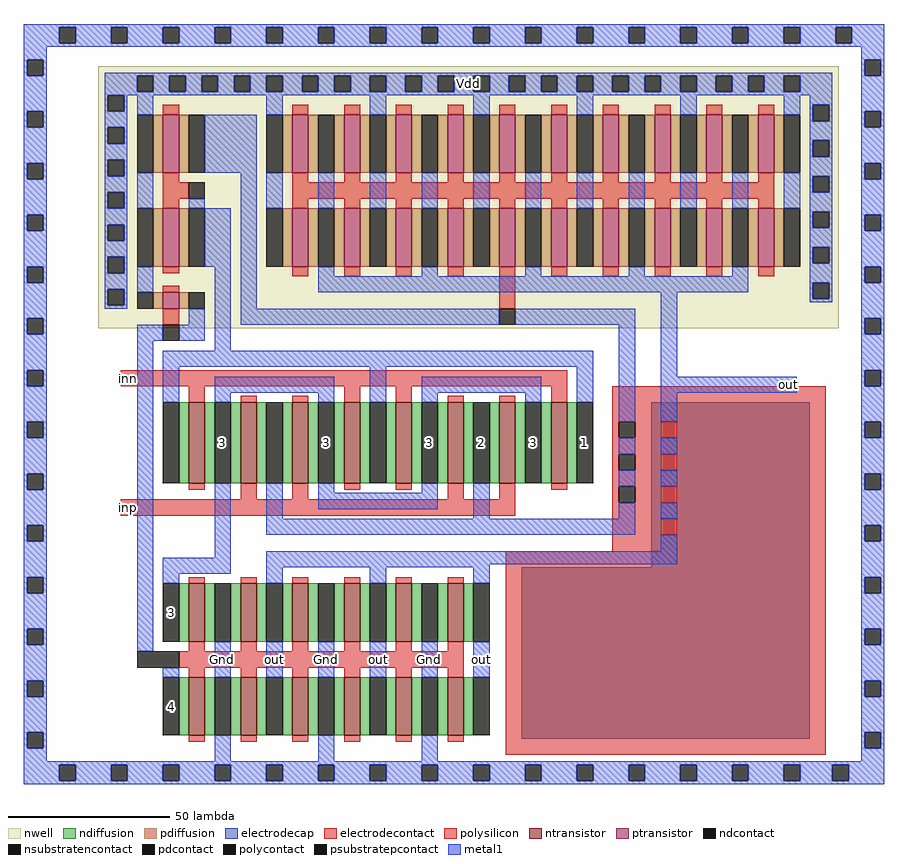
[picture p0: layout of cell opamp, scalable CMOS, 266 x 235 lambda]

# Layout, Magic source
magic
tech scmos
<< nwell >>
rect 23 141 252 222
<< electrodecontact >>
rect 197 107 202 112
rect 197 97 202 102
rect 197 87 202 92
rect 197 77 202 82
<< electrodecap >>
rect 194 67 243 118
rect 154 14 243 67
<< ntransistor >>
rect 51 93 56 118
rect 67 93 72 118
rect 83 93 88 118
rect 99 93 104 118
rect 115 93 120 118
rect 131 93 136 118
rect 147 93 152 118
rect 163 93 168 118
rect 51 44 56 62
rect 67 44 72 62
rect 83 44 88 62
rect 99 44 104 62
rect 115 44 120 62
rect 131 44 136 62
rect 51 15 56 33
rect 67 15 72 33
rect 83 15 88 33
rect 99 15 104 33
rect 115 15 120 33
rect 131 15 136 33
<< ptransistor >>
rect 43 189 48 207
rect 83 189 88 207
rect 99 189 104 207
rect 115 189 120 207
rect 131 189 136 207
rect 147 189 152 207
rect 163 189 168 207
rect 179 189 184 207
rect 195 189 200 207
rect 211 189 216 207
rect 227 189 232 207
rect 43 160 48 178
rect 83 160 88 178
rect 99 160 104 178
rect 115 160 120 178
rect 131 160 136 178
rect 147 160 152 178
rect 163 160 168 178
rect 179 160 184 178
rect 195 160 200 178
rect 211 160 216 178
rect 227 160 232 178
rect 43 147 48 152
<< ndiffusion >>
rect 48 93 51 118
rect 56 93 59 118
rect 64 93 67 118
rect 72 93 75 118
rect 80 93 83 118
rect 88 93 91 118
rect 96 93 99 118
rect 104 93 107 118
rect 112 93 115 118
rect 120 93 123 118
rect 128 93 131 118
rect 136 93 139 118
rect 144 93 147 118
rect 152 93 155 118
rect 160 93 163 118
rect 168 93 171 118
rect 48 44 51 62
rect 56 44 59 62
rect 64 44 67 62
rect 72 44 75 62
rect 80 44 83 62
rect 88 44 91 62
rect 96 44 99 62
rect 104 44 107 62
rect 112 44 115 62
rect 120 44 123 62
rect 128 44 131 62
rect 136 44 139 62
rect 48 15 51 33
rect 56 15 59 33
rect 64 15 67 33
rect 72 15 75 33
rect 80 15 83 33
rect 88 15 91 33
rect 96 15 99 33
rect 104 15 107 33
rect 112 15 115 33
rect 120 15 123 33
rect 128 15 131 33
rect 136 15 139 33
<< pdiffusion >>
rect 40 189 43 207
rect 48 189 51 207
rect 80 189 83 207
rect 88 189 91 207
rect 96 189 99 207
rect 104 189 107 207
rect 112 189 115 207
rect 120 189 123 207
rect 128 189 131 207
rect 136 189 139 207
rect 144 189 147 207
rect 152 189 155 207
rect 160 189 163 207
rect 168 189 171 207
rect 176 189 179 207
rect 184 189 187 207
rect 192 189 195 207
rect 200 189 203 207
rect 208 189 211 207
rect 216 189 219 207
rect 224 189 227 207
rect 232 189 235 207
rect 40 160 43 178
rect 48 160 51 178
rect 80 160 83 178
rect 88 160 91 178
rect 96 160 99 178
rect 104 160 107 178
rect 112 160 115 178
rect 120 160 123 178
rect 128 160 131 178
rect 136 160 139 178
rect 144 160 147 178
rect 152 160 155 178
rect 160 160 163 178
rect 168 160 171 178
rect 176 160 179 178
rect 184 160 187 178
rect 192 160 195 178
rect 200 160 203 178
rect 208 160 211 178
rect 216 160 219 178
rect 224 160 227 178
rect 232 160 235 178
rect 40 147 43 152
rect 48 147 51 152
<< ndcontact >>
rect 43 93 48 118
rect 59 93 64 118
rect 75 93 80 118
rect 91 93 96 118
rect 107 93 112 118
rect 123 93 128 118
rect 139 93 144 118
rect 155 93 160 118
rect 171 93 176 118
rect 43 44 48 62
rect 59 44 64 62
rect 75 44 80 62
rect 91 44 96 62
rect 107 44 112 62
rect 123 44 128 62
rect 139 44 144 62
rect 43 15 48 33
rect 59 15 64 33
rect 75 15 80 33
rect 91 15 96 33
rect 107 15 112 33
rect 123 15 128 33
rect 139 15 144 33
<< pdcontact >>
rect 35 189 40 207
rect 51 189 56 207
rect 75 189 80 207
rect 91 189 96 207
rect 107 189 112 207
rect 123 189 128 207
rect 139 189 144 207
rect 155 189 160 207
rect 171 189 176 207
rect 187 189 192 207
rect 203 189 208 207
rect 219 189 224 207
rect 235 189 240 207
rect 35 160 40 178
rect 51 160 56 178
rect 75 160 80 178
rect 91 160 96 178
rect 107 160 112 178
rect 123 160 128 178
rect 139 160 144 178
rect 155 160 160 178
rect 171 160 176 178
rect 187 160 192 178
rect 203 160 208 178
rect 219 160 224 178
rect 235 160 240 178
rect 35 147 40 152
rect 51 147 56 152
<< psubstratepcontact >>
rect 11 229 16 234
rect 27 229 32 234
rect 43 229 48 234
rect 59 229 64 234
rect 75 229 80 234
rect 91 229 96 234
rect 107 229 112 234
rect 123 229 128 234
rect 139 229 144 234
rect 155 229 160 234
rect 171 229 176 234
rect 187 229 192 234
rect 203 229 208 234
rect 219 229 224 234
rect 235 229 240 234
rect 251 229 256 234
rect 1 219 6 224
rect 260 219 265 224
rect 1 203 6 208
rect 1 187 6 192
rect 260 203 265 208
rect 260 187 265 192
rect 1 171 6 176
rect 1 155 6 160
rect 260 171 265 176
rect 260 155 265 160
rect 1 139 6 144
rect 260 139 265 144
rect 1 123 6 128
rect 260 123 265 128
rect 1 107 6 112
rect 1 91 6 96
rect 260 107 265 112
rect 260 91 265 96
rect 1 75 6 80
rect 260 75 265 80
rect 1 59 6 64
rect 1 43 6 48
rect 1 27 6 32
rect 1 11 6 16
rect 260 59 265 64
rect 260 43 265 48
rect 260 27 265 32
rect 260 11 265 16
rect 11 1 16 6
rect 27 1 32 6
rect 43 1 48 6
rect 59 1 64 6
rect 75 1 80 6
rect 91 1 96 6
rect 107 1 112 6
rect 123 1 128 6
rect 139 1 144 6
rect 155 1 160 6
rect 171 1 176 6
rect 187 1 192 6
rect 203 1 208 6
rect 219 1 224 6
rect 235 1 240 6
rect 250 1 255 6
<< nsubstratencontact >>
rect 35 214 40 219
rect 45 214 50 219
rect 55 214 60 219
rect 65 214 70 219
rect 75 214 80 219
rect 86 214 91 219
rect 96 214 101 219
rect 107 214 112 219
rect 118 214 123 219
rect 128 214 133 219
rect 139 214 144 219
rect 150 214 155 219
rect 160 214 165 219
rect 171 214 176 219
rect 182 214 187 219
rect 192 214 197 219
rect 203 214 208 219
rect 214 214 219 219
rect 224 214 229 219
rect 235 214 240 219
rect 26 208 31 213
rect 26 198 31 203
rect 26 188 31 193
rect 244 205 249 210
rect 244 194 249 199
rect 26 178 31 183
rect 244 183 249 188
rect 26 168 31 173
rect 26 158 31 163
rect 244 172 249 177
rect 244 161 249 166
rect 26 148 31 153
rect 244 150 249 155
<< polysilicon >>
rect 43 207 48 210
rect 83 207 88 210
rect 99 207 104 210
rect 115 207 120 210
rect 131 207 136 210
rect 147 207 152 210
rect 163 207 168 210
rect 179 207 184 210
rect 195 207 200 210
rect 211 207 216 210
rect 227 207 232 210
rect 43 186 48 189
rect 83 186 88 189
rect 99 186 104 189
rect 115 186 120 189
rect 131 186 136 189
rect 147 186 152 189
rect 163 186 168 189
rect 179 186 184 189
rect 195 186 200 189
rect 211 186 216 189
rect 227 186 232 189
rect 43 181 51 186
rect 83 181 232 186
rect 43 178 48 181
rect 83 178 88 181
rect 99 178 104 181
rect 115 178 120 181
rect 131 178 136 181
rect 147 178 152 181
rect 163 178 168 181
rect 179 178 184 181
rect 195 178 200 181
rect 211 178 216 181
rect 227 178 232 181
rect 43 158 48 160
rect 83 157 88 160
rect 99 157 104 160
rect 115 157 120 160
rect 131 157 136 160
rect 43 152 48 154
rect 147 147 152 160
rect 163 157 168 160
rect 179 157 184 160
rect 195 157 200 160
rect 211 157 216 160
rect 227 157 232 160
rect 43 142 48 147
rect 30 123 168 128
rect 51 118 56 123
rect 67 118 72 120
rect 83 118 88 120
rect 99 118 104 123
rect 115 118 120 123
rect 131 118 136 120
rect 147 118 152 120
rect 163 118 168 123
rect 182 112 248 123
rect 182 107 184 112
rect 189 107 248 112
rect 182 102 248 107
rect 182 97 184 102
rect 189 97 248 102
rect 51 91 56 93
rect 67 88 72 93
rect 83 88 88 93
rect 99 91 104 93
rect 115 91 120 93
rect 131 88 136 93
rect 147 88 152 93
rect 163 91 168 93
rect 182 92 248 97
rect 30 83 152 88
rect 182 87 184 92
rect 189 87 248 92
rect 182 72 248 87
rect 51 62 56 64
rect 67 62 72 64
rect 83 62 88 64
rect 99 62 104 64
rect 115 62 120 64
rect 131 62 136 64
rect 51 41 56 44
rect 67 41 72 44
rect 83 41 88 44
rect 99 41 104 44
rect 115 41 120 44
rect 131 41 136 44
rect 48 36 136 41
rect 51 33 56 36
rect 67 33 72 36
rect 83 33 88 36
rect 99 33 104 36
rect 115 33 120 36
rect 131 33 136 36
rect 51 13 56 15
rect 67 13 72 15
rect 83 13 88 15
rect 99 13 104 15
rect 115 13 120 15
rect 131 13 136 15
rect 149 9 248 72
<< polycontact >>
rect 51 181 56 186
rect 147 142 152 147
rect 43 137 48 142
rect 184 107 189 112
rect 184 97 189 102
rect 184 87 189 92
rect 35 36 48 41
<< metal1 >>
rect 0 234 266 235
rect 0 229 11 234
rect 16 229 27 234
rect 32 229 43 234
rect 48 229 59 234
rect 64 229 75 234
rect 80 229 91 234
rect 96 229 107 234
rect 112 229 123 234
rect 128 229 139 234
rect 144 229 155 234
rect 160 229 171 234
rect 176 229 187 234
rect 192 229 203 234
rect 208 229 219 234
rect 224 229 235 234
rect 240 229 251 234
rect 256 229 266 234
rect 0 228 266 229
rect 0 224 7 228
rect 0 219 1 224
rect 6 219 7 224
rect 259 224 266 228
rect 0 208 7 219
rect 0 203 1 208
rect 6 203 7 208
rect 0 192 7 203
rect 0 187 1 192
rect 6 187 7 192
rect 0 176 7 187
rect 0 171 1 176
rect 6 171 7 176
rect 0 160 7 171
rect 0 155 1 160
rect 6 155 7 160
rect 0 144 7 155
rect 25 219 250 220
rect 25 214 35 219
rect 40 214 45 219
rect 50 214 55 219
rect 60 214 65 219
rect 70 214 75 219
rect 80 214 86 219
rect 91 214 96 219
rect 101 214 107 219
rect 112 214 118 219
rect 123 214 128 219
rect 133 214 139 219
rect 144 214 150 219
rect 155 214 160 219
rect 165 214 171 219
rect 176 214 182 219
rect 187 214 192 219
rect 197 214 203 219
rect 208 214 214 219
rect 219 214 224 219
rect 229 214 235 219
rect 240 214 250 219
rect 25 213 250 214
rect 25 208 26 213
rect 31 208 32 213
rect 25 203 32 208
rect 25 198 26 203
rect 31 198 32 203
rect 25 193 32 198
rect 25 188 26 193
rect 31 188 32 193
rect 25 183 32 188
rect 25 178 26 183
rect 31 178 32 183
rect 25 173 32 178
rect 25 168 26 173
rect 31 168 32 173
rect 25 163 32 168
rect 25 158 26 163
rect 31 158 32 163
rect 25 153 32 158
rect 25 148 26 153
rect 31 148 32 153
rect 25 147 32 148
rect 35 207 40 213
rect 75 207 80 213
rect 107 207 112 213
rect 139 207 144 213
rect 171 207 176 213
rect 203 207 208 213
rect 235 207 240 213
rect 56 189 72 207
rect 35 178 40 189
rect 51 178 56 181
rect 56 160 64 178
rect 35 152 40 160
rect 0 139 1 144
rect 6 139 7 144
rect 51 142 56 147
rect 0 128 7 139
rect 0 123 1 128
rect 6 123 7 128
rect 0 112 7 123
rect 0 107 1 112
rect 6 107 7 112
rect 0 96 7 107
rect 0 91 1 96
rect 6 91 7 96
rect 0 80 7 91
rect 0 75 1 80
rect 6 75 7 80
rect 0 64 7 75
rect 0 59 1 64
rect 6 59 7 64
rect 0 48 7 59
rect 0 43 1 48
rect 6 43 7 48
rect 0 32 7 43
rect 35 137 43 142
rect 48 137 56 142
rect 35 41 40 137
rect 59 134 64 160
rect 67 147 72 189
rect 75 178 80 189
rect 91 178 96 189
rect 107 178 112 189
rect 123 178 128 189
rect 139 178 144 189
rect 155 178 160 189
rect 171 178 176 189
rect 187 178 192 189
rect 203 178 208 189
rect 219 178 224 189
rect 235 178 240 189
rect 243 210 250 213
rect 243 205 244 210
rect 249 205 250 210
rect 243 199 250 205
rect 243 194 244 199
rect 249 194 250 199
rect 243 188 250 194
rect 243 183 244 188
rect 249 183 250 188
rect 243 177 250 183
rect 243 172 244 177
rect 249 172 250 177
rect 243 166 250 172
rect 243 161 244 166
rect 249 161 250 166
rect 91 157 96 160
rect 123 157 128 160
rect 155 157 160 160
rect 187 157 192 160
rect 219 157 224 160
rect 91 152 224 157
rect 243 155 250 161
rect 67 142 147 147
rect 152 142 189 147
rect 43 129 176 134
rect 43 118 48 129
rect 59 121 96 126
rect 59 118 64 121
rect 91 118 96 121
rect 59 70 64 93
rect 75 82 80 93
rect 107 118 112 129
rect 123 121 160 126
rect 123 118 128 121
rect 155 118 160 121
rect 91 90 96 93
rect 123 90 128 93
rect 91 85 128 90
rect 171 118 176 129
rect 184 112 189 142
rect 184 102 189 107
rect 139 82 144 93
rect 184 92 189 97
rect 184 82 189 87
rect 75 77 189 82
rect 197 126 202 152
rect 243 150 244 155
rect 249 150 250 155
rect 243 149 250 150
rect 259 219 260 224
rect 265 219 266 224
rect 259 208 266 219
rect 259 203 260 208
rect 265 203 266 208
rect 259 192 266 203
rect 259 187 260 192
rect 265 187 266 192
rect 259 176 266 187
rect 259 171 260 176
rect 265 171 266 176
rect 259 160 266 171
rect 259 155 260 160
rect 265 155 266 160
rect 259 144 266 155
rect 259 139 260 144
rect 265 139 266 144
rect 259 128 266 139
rect 197 121 239 126
rect 259 123 260 128
rect 265 123 266 128
rect 197 112 202 121
rect 197 102 202 107
rect 197 92 202 97
rect 197 82 202 87
rect 197 72 202 77
rect 43 65 64 70
rect 75 68 202 72
rect 259 112 266 123
rect 259 107 260 112
rect 265 107 266 112
rect 259 96 266 107
rect 259 91 260 96
rect 265 91 266 96
rect 259 80 266 91
rect 259 75 260 80
rect 265 75 266 80
rect 75 67 144 68
rect 43 62 48 65
rect 75 62 80 67
rect 107 62 112 67
rect 139 62 144 67
rect 0 27 1 32
rect 6 27 7 32
rect 0 16 7 27
rect 0 11 1 16
rect 6 11 7 16
rect 43 33 48 36
rect 59 33 64 44
rect 75 33 80 44
rect 91 33 96 44
rect 107 33 112 44
rect 123 33 128 44
rect 139 33 144 44
rect 259 64 266 75
rect 259 59 260 64
rect 265 59 266 64
rect 259 48 266 59
rect 259 43 260 48
rect 265 43 266 48
rect 259 32 266 43
rect 259 27 260 32
rect 265 27 266 32
rect 259 16 266 27
rect 0 7 7 11
rect 59 7 64 15
rect 91 7 96 15
rect 123 7 128 15
rect 259 11 260 16
rect 265 11 266 16
rect 259 7 266 11
rect 0 6 266 7
rect 0 1 11 6
rect 16 1 27 6
rect 32 1 43 6
rect 48 1 59 6
rect 64 1 75 6
rect 80 1 91 6
rect 96 1 107 6
rect 112 1 123 6
rect 128 1 139 6
rect 144 1 155 6
rect 160 1 171 6
rect 176 1 187 6
rect 192 1 203 6
rect 208 1 219 6
rect 224 1 235 6
rect 240 1 250 6
rect 255 1 266 6
rect 0 0 266 1
<< labels >>
rlabel metal1 139 15 144 62 1 out
rlabel metal1 107 15 112 62 1 out
rlabel metal1 75 15 80 62 1 out
rlabel metal1 123 15 128 62 1 Gnd
rlabel metal1 91 15 96 62 1 Gnd
rlabel metal1 59 15 64 62 1 Gnd
rlabel polysilicon 30 123 35 128 4 inn
rlabel polysilicon 30 83 35 88 2 inp
rlabel metal1 234 121 239 126 1 out
rlabel nwell 35 214 240 219 1 Vdd
rlabel ndcontact 43 15 48 33 1 4
rlabel ndcontact 43 44 48 62 1 3
rlabel ndcontact 59 93 64 118 1 3
rlabel ndcontact 91 93 96 118 1 3
rlabel ndcontact 123 93 128 118 1 3
rlabel ndcontact 155 93 160 118 1 3
rlabel ndcontact 171 93 176 118 1 1
rlabel ndcontact 139 93 144 118 1 2
<< end >>
